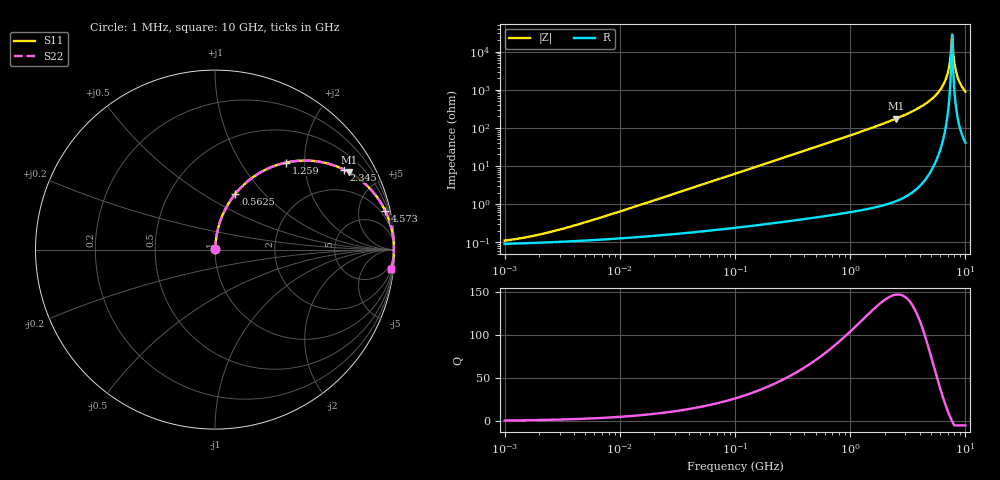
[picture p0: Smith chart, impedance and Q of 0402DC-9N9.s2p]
# MHz  S  MA  R  50
!Freq  MagS11  AngS11  MagS21  AngS21  MagS12  AngS12  MagS22  AngS22
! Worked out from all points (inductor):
!   801 points, 1 MHz to 10 GHz, reference 50 ohm
!   read as one part in series: L = 9.9 nH near 5.371 MHz
!   highest Q = 147 at 2.484 GHz (marker M1), where L = 11.1 nH
!   self-resonance near 7.589 GHz
!   S11 on the Smith chart (normalised r, x): 1 MHz: 1.00, +0.00; 562.5 MHz: 1.01, +0.70; 1.259 GHz: 1.01, +1.61; 2.345 GHz: 1.02, +3.22; 4.573 GHz: 1.09, +8.84; 10 GHz: 2, -18
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1  0.001087 34.8  0.9991 -0.0  0.9991 -0.0  0.001087 34.8
4.67769  0.003101 69.4  0.9989 -0.2  0.9989 -0.2  0.003101 69.4
21.6303  0.01352 82.9  0.9984 -0.8  0.9984 -0.8  0.01352 82.9
100.0216  0.06201 84.3  0.9957 -3.6  0.9957 -3.6  0.06201 84.3
467.8699  0.2793 72.9  0.9561 -16.2  0.9561 -16.2  0.2793 72.9
562.5082  0.3305 69.9  0.9394 -19.3  0.9394 -19.3  0.3305 69.9
1259.347  0.6245 50.9  0.7757 -38.6  0.7757 -38.6  0.6245 50.9
2163.497  0.8228 34.2  0.5626 -55.4  0.5626 -55.4  0.8228 34.2
2345.081  0.8468 31.7  0.5261 -57.9  0.5261 -57.9  0.8468 31.7
2484.043  0.8628 30.0  0.4997 -59.6  0.4997 -59.6  0.8628 30.0
4572.687  0.9731 12.7  0.2203 -76.7  0.2203 -76.7  0.9731 12.7
5625.689  0.989 7.5  0.1303 -81.4  0.1303 -81.4  0.989 7.5
6459.197  0.9946 4.1  0.07167 -83.7  0.07167 -83.7  0.9946 4.1
6921.177  0.9961 2.4  0.04268 -83.5  0.04268 -83.5  0.9961 2.4
7164.414  0.9965 1.6  0.02827 -82.0  0.02827 -82.0  0.9965 1.6
7416.199  0.9966 0.8  0.01403 -75.7  0.01403 -75.7  0.9966 0.8
7676.832  0.9966 -0.0  0.003527 13.1  0.003527 13.1  0.9966 -0.0
7946.626  0.9963 -0.9  0.01567 75.8  0.01567 75.8  0.9963 -0.9
8225.901  0.9958 -1.7  0.02993 81.0  0.02993 81.0  0.9958 -1.7
8613.594  0.9947 -2.8  0.04913 82.5  0.04913 82.5  0.9947 -2.8
9229.662  0.9924 -4.5  0.07808 82.2  0.07808 82.2  0.9924 -4.5
10000  0.9886 -6.4  0.1119 80.9  0.1119 80.9  0.9886 -6.4
